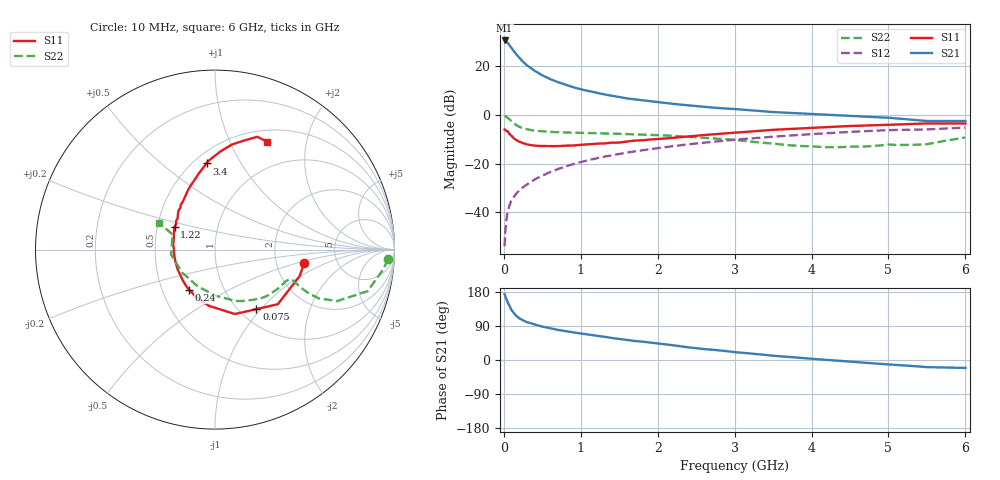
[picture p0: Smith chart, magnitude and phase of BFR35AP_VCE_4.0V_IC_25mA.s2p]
! Infineon Technologies  Discrete & RF Semiconductors
! BFR35AP
! VCE =  4.0 V,  IC =  25 mA
! Common Emitter S-Parameters:  Nov 2015
# GHz  S  MA  R  50
!  f  S11  S21  S12  S22
! GHz  MAG  ANG  MAG  ANG  MAG  ANG  MAG  ANG
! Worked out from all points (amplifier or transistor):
!   210 points, 10 MHz to 6 GHz, reference 50 ohm
!   highest |S21| = 30.7 dB at 10 MHz (marker M1)
!   |S21| within 3 dB of that: start of sweep to 97.27 MHz
!   unconditionally stable (mu >= 1): 350.9 MHz to 2.937 GHz
!   at 185 MHz: K = 0.80, MSG = 27.8 dB, |S12| = -31.6 dB
!   at 1.52 GHz: K = 1.11, MAG = 9.6 dB, |S12| = -15.9 dB
!   at 6 GHz: K = 0.94, MSG = 1.4 dB, |S12| = -5.2 dB
!   S11 on the Smith chart (normalised r, x): 10 MHz: 2.89, -0.59; 75 MHz: 1.19, -0.94; 240 MHz: 0.68, -0.33; 1.22 GHz: 0.62, +0.17; 3.4 GHz: 0.58, +0.72; 6 GHz: 0.64, +1.39
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0.01  0.5028 -8.7  34.23 173.6  0.002 87.1  0.9643 -3.1
0.02  0.4941 -17.4  33.58 167.4  0.0042 82.3  0.9452 -6.6
0.05  0.4637 -41.0  30.77 151.1  0.0104 75.2  0.8813 -15.2
0.075  0.4039 -55.2  26.96 142.4  0.014 71.2  0.8079 -18.7
0.1  0.3758 -72.8  23.95 131.3  0.0177 68.9  0.7381 -22.9
0.15  0.3151 -96.3  18.64 118.2  0.0229 66.7  0.6358 -25.2
0.2  0.2834 -111.9  15.03 110.1  0.0279 67.7  0.5719 -24.9
0.24  0.2662 -122.7  12.91 105.7  0.0317 68.0  0.5396 -24.3
0.3  0.2491 -135.8  10.55 99.8  0.0372 69.8  0.509 -23.3
0.4  0.2356 -152.1  8.115 93.5  0.0471 71.1  0.4758 -22.1
0.5  0.2301 -164.2  6.562 88.0  0.0562 71.7  0.4622 -21.5
0.6  0.2293 -172.2  5.507 83.8  0.0667 71.7  0.4498 -21.7
0.7  0.2291 179.2  4.767 79.6  0.0769 71.9  0.4424 -22.4
1.02  0.2446 159.6  3.329 69.3  0.1095 70.1  0.4281 -25.1
1.22  0.2582 150.4  2.84 63.5  0.1301 68.6  0.4205 -28.1
1.6  0.2859 136.3  2.194 53.0  0.1682 64.8  0.4045 -34.7
2.02  0.322 124.0  1.82 43.2  0.2106 60.5  0.385 -42.7
3.1  0.4442 100.4  1.291 19.1  0.3192 47.5  0.2959 -71.5
3.4  0.4826 95.6  1.184 13.4  0.3482 43.7  0.266 -83.3
4.1  0.5554 85.7  1.033 1.7  0.4139 34.4  0.2214 -120.5
5.1  0.6366 73.9  0.853 -13.0  0.4921 19.7  0.243 -178.7
6  0.6673 64.4  0.753 -20.9  0.551 9.0  0.3441 154.5
